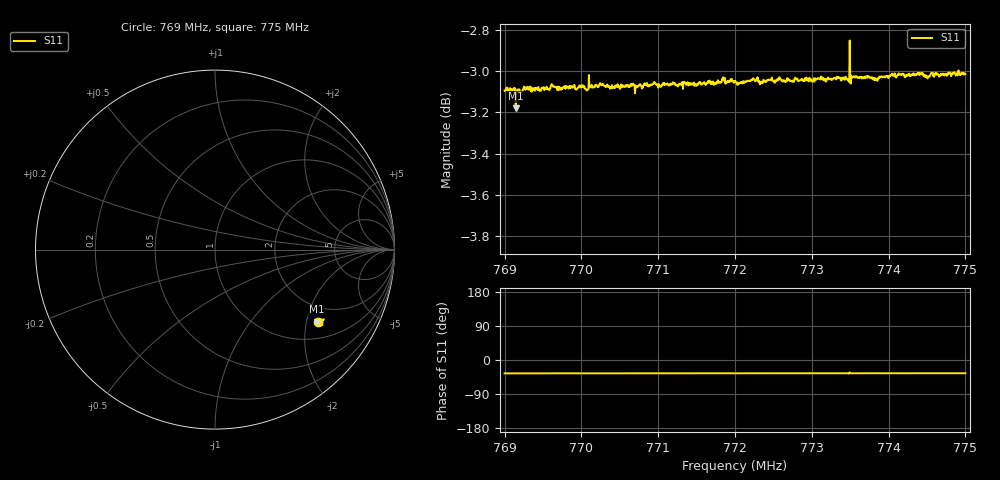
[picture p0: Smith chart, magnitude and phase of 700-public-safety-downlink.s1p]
! Calibrated averaged scanner-service zoom
# Hz S RI R 50
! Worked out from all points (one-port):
!   1001 points, 769 MHz to 775 MHz, reference 50 ohm
!   lowest |S11| = -3.2 dB at 769.144 MHz (marker M1), VSWR 5.53, Z = 74.2 - j115 ohm
!   |S11| at or under -10 dB: nowhere
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7.69e8  0.5722 -0.4036
7.69144e8  0.5655 -0.4014
7.69276e8  0.5732 -0.4041
7.69456e8  0.5726 -0.4031
7.69624e8  0.5736 -0.4053
7.6975e8  0.5729 -0.404
7.69876e8  0.5742 -0.4038
7.705e8  0.5731 -0.4037
7.7125e8  0.574 -0.4045
7.72e8  0.5763 -0.4047
7.7227e8  0.5764 -0.4044
7.7233e8  0.5758 -0.404
7.7245e8  0.5765 -0.4051
7.7275e8  0.5767 -0.4042
7.7311e8  0.5774 -0.4041
7.73446e8  0.5776 -0.4045
7.73458e8  0.5774 -0.4045
7.73464e8  0.5775 -0.4038
7.735e8  0.5783 -0.4039
7.73524e8  0.5776 -0.4048
7.7353e8  0.5778 -0.4052
7.73536e8  0.5777 -0.4055
7.73824e8  0.5773 -0.4037
7.7425e8  0.5787 -0.4052
7.74418e8  0.5794 -0.4052
7.74502e8  0.5784 -0.4038
7.74586e8  0.5787 -0.4051
7.75e8  0.5791 -0.4054
